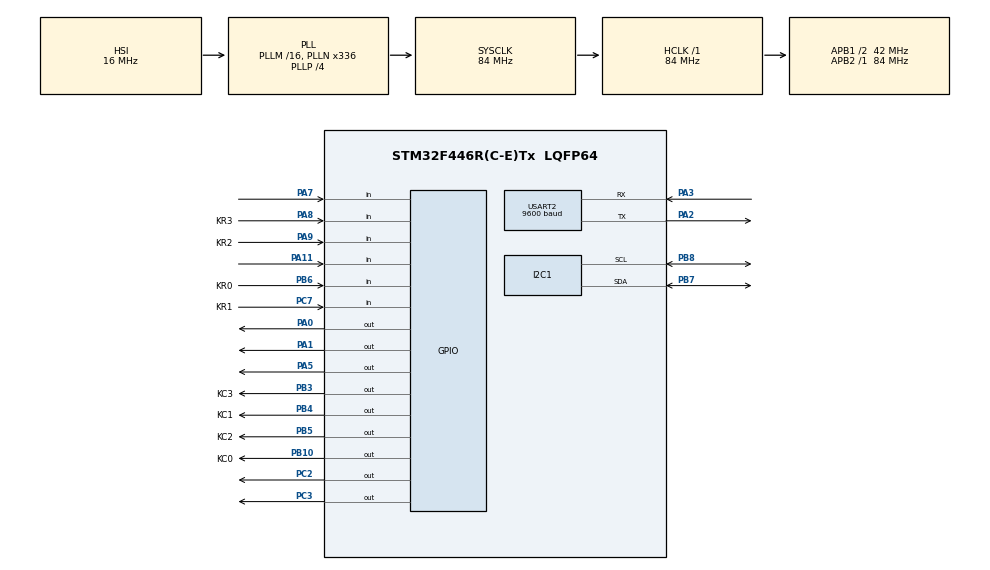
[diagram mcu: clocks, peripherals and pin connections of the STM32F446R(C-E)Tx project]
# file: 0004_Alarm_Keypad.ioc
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FREERTOS.Mutexes01=armMutex,Dynamic,NULL
FREERTOS.Tasks01=defaultTask,0,128,StartDefaultTask,Default,NULL,Dynamic,NULL,NULL;Task1,-3,128,StartTask01,Default,NULL,Dynamic,NULL,NULL;Task2,-3,128,StartTask02,Default,NULL,Dynamic,NULL,NULL;Task3,-3,128,StartTask03,Default,NULL,Dynamic,NULL,NULL
I2C1.I2C_Mode=I2C_Fast
Mcu.Family=STM32F4
Mcu.Name=STM32F446R(C-E)Tx
Mcu.Package=LQFP64
NVIC.PriorityGroup=NVIC_PRIORITYGROUP_4
NVIC.TIM6_DAC_IRQn=true\:0\:0\:false\:false\:true\:false\:false\:true\:true
NVIC.TimeBase=TIM6_DAC_IRQn
NVIC.TimeBaseIP=TIM6
PA0-WKUP.Signal=GPIO_Output
PA1.Signal=GPIO_Output
PA11.Signal=GPIO_Input
PA13.Mode=Serial_Wire
PA13.Signal=SYS_JTMS-SWDIO
PA14.Mode=Serial_Wire
PA14.Signal=SYS_JTCK-SWCLK
PA2.Mode=Asynchronous
PA2.Signal=USART2_TX
PA3.Mode=Asynchronous
PA3.Signal=USART2_RX
PA5.Signal=GPIO_Output
PA7.Signal=GPIO_Input
PA8.GPIO_Label=KR3
PA8.GPIO_PuPd=GPIO_PULLDOWN
PA8.Signal=GPIO_Input
PA9.GPIO_Label=KR2
PA9.GPIO_PuPd=GPIO_PULLDOWN
PA9.Signal=GPIO_Input
PB10.GPIO_Label=KC0
PB10.Signal=GPIO_Output
PB3.GPIO_Label=KC3
PB3.Signal=GPIO_Output
PB4.GPIO_Label=KC1
PB4.Signal=GPIO_Output
PB5.GPIO_Label=KC2
PB5.Signal=GPIO_Output
PB6.GPIO_Label=KR0
PB6.GPIO_PuPd=GPIO_PULLDOWN
PB6.Signal=GPIO_Input
PB7.Mode=I2C
PB7.Signal=I2C1_SDA
PB8.Mode=I2C
PB8.Signal=I2C1_SCL
PC14-OSC32_IN.Mode=LSE-External-Oscillator
PC14-OSC32_IN.Signal=RCC_OSC32_IN
PC15-OSC32_OUT.Mode=LSE-External-Oscillator
PC15-OSC32_OUT.Signal=RCC_OSC32_OUT
PC2.Signal=GPIO_Output
PC3.Signal=GPIO_Output
PC7.GPIO_Label=KR1
PC7.GPIO_PuPd=GPIO_PULLDOWN
PC7.Signal=GPIO_Input
PH0-OSC_IN.Mode=HSE-External-Oscillator
PH0-OSC_IN.Signal=RCC_OSC_IN
PH1-OSC_OUT.Mode=HSE-External-Oscillator
PH1-OSC_OUT.Signal=RCC_OSC_OUT
ProjectManager.HeapSize=0x200
ProjectManager.StackSize=0x400
ProjectManager.TargetToolchain=STM32CubeIDE
RCC.48MHZClocksFreq_Value=84000000
RCC.AHBFreq_Value=84000000
RCC.APB1CLKDivider=RCC_HCLK_DIV2
RCC.APB1Freq_Value=42000000
RCC.APB1TimFreq_Value=84000000
RCC.APB2Freq_Value=84000000
RCC.APB2TimFreq_Value=84000000
RCC.CortexFreq_Value=84000000
RCC.FLatency-AdvancedSettings=FLASH_LATENCY_2
RCC.HCLKFreq_Value=84000000
RCC.HSE_VALUE=8000000
RCC.HSI_VALUE=16000000
RCC.PLLN=336
RCC.PLLP=RCC_PLLP_DIV4
RCC.SYSCLKFreq_VALUE=84000000
RCC.SYSCLKSource=RCC_SYSCLKSOURCE_PLLCLK
RCC.USBFreq_Value=168000000
RCC.VCOOutputFreq_Value=336000000
USART2.BaudRate=9600
USART2.VirtualMode=VM_ASYNC
VP_FREERTOS_VS_CMSIS_V1.Mode=CMSIS_V1
VP_SYS_VS_tim6.Mode=TIM6
board=NUCLEO-F446RE

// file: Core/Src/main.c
/* USER CODE BEGIN Header */
/**
  ******************************************************************************
  * @file           : main.c
  * @brief          : Main program body
  ******************************************************************************
  * @attention
  *
  * Copyright (c) 2024 STMicroelectronics.
  * All rights reserved.
  *
  * This software is licensed under terms that can be found in the LICENSE file
  * in the root directory of this software component.
  * If no LICENSE file comes with this software, it is provided AS-IS.
  *
  ******************************************************************************
  */
/* USER CODE END Header */
#include "main.h"
#include "cmsis_os.h"

/* USER CODE BEGIN Includes */
#include "Keypad4X4.h"
#include <stdio.h>
#include <string.h>
#include <stdlib.h>
#include "fonts.h"
#include "ssd1306.h"

/* USER CODE END Includes */

I2C_HandleTypeDef hi2c1;

UART_HandleTypeDef huart2;

osThreadId defaultTaskHandle;
osThreadId Task1Handle;
osThreadId Task2Handle;
osThreadId Task3Handle;
osMutexId armMutexHandle;
/* USER CODE BEGIN PV */
extern char key;
char hold[4];
int pirState = 0;
char msg[50];
char code[] = "0000";
char enteredUserCode[5];
int codeLength = 0;
int armed = 1;
/* USER CODE END PV */

void SystemClock_Config(void);
static void MX_GPIO_Init(void);
static void MX_USART2_UART_Init(void);
static void MX_I2C1_Init(void);
void StartDefaultTask(void const * argument);
void StartTask01(void const * argument);
void StartTask02(void const * argument);
void StartTask03(void const * argument);

int main(void)
{

  /* MCU Configuration--------------------------------------------------------*/

  /* Reset of all peripherals, Initializes the Flash interface and the Systick. */
  HAL_Init();

  /* Configure the system clock */
  SystemClock_Config();

  /* Initialize all configured peripherals */
  MX_GPIO_Init();
  MX_USART2_UART_Init();
  MX_I2C1_Init();
  /* USER CODE BEGIN 2 */
  /* USER CODE BEGIN 2 */
//  HAL_GPIO_TogglePin(GPIOA, GPIO_PIN_0);
//  HAL_GPIO_TogglePin(GPIOA, GPIO_PIN_1);

    SSD1306_Init();

  /* USER CODE END 2 */

  /* Create the mutex(es) */
  /* definition and creation of armMutex */
  osMutexDef(armMutex);
  armMutexHandle = osMutexCreate(osMutex(armMutex));

  /* Create the thread(s) */
  /* definition and creation of defaultTask */
  osThreadDef(defaultTask, StartDefaultTask, osPriorityNormal, 0, 128);
  defaultTaskHandle = osThreadCreate(osThread(defaultTask), NULL);

  /* definition and creation of Task1 */
  osThreadDef(Task1, StartTask01, osPriorityIdle, 0, 128);
  Task1Handle = osThreadCreate(osThread(Task1), NULL);

  /* definition and creation of Task2 */
  osThreadDef(Task2, StartTask02, osPriorityIdle, 0, 128);
  Task2Handle = osThreadCreate(osThread(Task2), NULL);

  /* definition and creation of Task3 */
  osThreadDef(Task3, StartTask03, osPriorityIdle, 0, 128);
  Task3Handle = osThreadCreate(osThread(Task3), NULL);

  /* Start scheduler */
  osKernelStart();

  /* We should never get here as control is now taken by the scheduler */
  /* Infinite loop */
  while (1)
  {

    /* USER CODE BEGIN 3 */
	/* D10 to D7 as input pins for row 0 to row 3. D6 to D3 as output for column pins C1 to C3*/

//	  key = Get_Key();
//	  sprintf(hold, "%c", key);
//	  HAL_UART_Transmit(&huart2, (uint8_t *)hold, strlen(hold), 100);
//	  SSD1306_GotoXY (0, 30);
//	  SSD1306_UpdateScreen();
//	  SSD1306_Puts (hold, &Font_11x18, 1);
//	  SSD1306_UpdateScreen();
//	  HAL_Delay (500);

  }
  /* USER CODE END 3 */
}

void SystemClock_Config(void)
{
  RCC_OscInitTypeDef RCC_OscInitStruct = {0};
  RCC_ClkInitTypeDef RCC_ClkInitStruct = {0};

  /** Configure the main internal regulator output voltage
  */
  __HAL_RCC_PWR_CLK_ENABLE();
  __HAL_PWR_VOLTAGESCALING_CONFIG(PWR_REGULATOR_VOLTAGE_SCALE3);

  /** Initializes the RCC Oscillators according to the specified parameters
  * in the RCC_OscInitTypeDef structure.
  */
  RCC_OscInitStruct.OscillatorType = RCC_OSCILLATORTYPE_HSI;
  RCC_OscInitStruct.HSIState = RCC_HSI_ON;
  RCC_OscInitStruct.HSICalibrationValue = RCC_HSICALIBRATION_DEFAULT;
  RCC_OscInitStruct.PLL.PLLState = RCC_PLL_ON;
  RCC_OscInitStruct.PLL.PLLSource = RCC_PLLSOURCE_HSI;
  RCC_OscInitStruct.PLL.PLLM = 16;
  RCC_OscInitStruct.PLL.PLLN = 336;
  RCC_OscInitStruct.PLL.PLLP = RCC_PLLP_DIV4;
  RCC_OscInitStruct.PLL.PLLQ = 2;
  RCC_OscInitStruct.PLL.PLLR = 2;
  if (HAL_RCC_OscConfig(&RCC_OscInitStruct) != HAL_OK)
  {
    Error_Handler();
  }

  /** Initializes the CPU, AHB and APB buses clocks
  */
  RCC_ClkInitStruct.ClockType = RCC_CLOCKTYPE_HCLK|RCC_CLOCKTYPE_SYSCLK
                              |RCC_CLOCKTYPE_PCLK1|RCC_CLOCKTYPE_PCLK2;
  RCC_ClkInitStruct.SYSCLKSource = RCC_SYSCLKSOURCE_PLLCLK;
  RCC_ClkInitStruct.AHBCLKDivider = RCC_SYSCLK_DIV1;
  RCC_ClkInitStruct.APB1CLKDivider = RCC_HCLK_DIV2;
  RCC_ClkInitStruct.APB2CLKDivider = RCC_HCLK_DIV1;

  if (HAL_RCC_ClockConfig(&RCC_ClkInitStruct, FLASH_LATENCY_2) != HAL_OK)
  {
    Error_Handler();
  }
}

static void MX_I2C1_Init(void)
{

  hi2c1.Instance = I2C1;
  hi2c1.Init.ClockSpeed = 400000;
  hi2c1.Init.DutyCycle = I2C_DUTYCYCLE_2;
  hi2c1.Init.OwnAddress1 = 0;
  hi2c1.Init.AddressingMode = I2C_ADDRESSINGMODE_7BIT;
  hi2c1.Init.DualAddressMode = I2C_DUALADDRESS_DISABLE;
  hi2c1.Init.OwnAddress2 = 0;
  hi2c1.Init.GeneralCallMode = I2C_GENERALCALL_DISABLE;
  hi2c1.Init.NoStretchMode = I2C_NOSTRETCH_DISABLE;
  if (HAL_I2C_Init(&hi2c1) != HAL_OK)
  {
    Error_Handler();
  }

}

static void MX_USART2_UART_Init(void)
{

  huart2.Instance = USART2;
  huart2.Init.BaudRate = 9600;
  huart2.Init.WordLength = UART_WORDLENGTH_8B;
  huart2.Init.StopBits = UART_STOPBITS_1;
  huart2.Init.Parity = UART_PARITY_NONE;
  huart2.Init.Mode = UART_MODE_TX_RX;
  huart2.Init.HwFlowCtl = UART_HWCONTROL_NONE;
  huart2.Init.OverSampling = UART_OVERSAMPLING_16;
  if (HAL_UART_Init(&huart2) != HAL_OK)
  {
    Error_Handler();
  }

}

static void MX_GPIO_Init(void)
{
  GPIO_InitTypeDef GPIO_InitStruct = {0};

  /* GPIO Ports Clock Enable */
  __HAL_RCC_GPIOC_CLK_ENABLE();
  __HAL_RCC_GPIOH_CLK_ENABLE();
  __HAL_RCC_GPIOA_CLK_ENABLE();
  __HAL_RCC_GPIOB_CLK_ENABLE();

  /*Configure GPIO pin Output Level */
  HAL_GPIO_WritePin(GPIOC, GPIO_PIN_2|GPIO_PIN_3, GPIO_PIN_RESET);

  /*Configure GPIO pin Output Level */
  HAL_GPIO_WritePin(GPIOA, GPIO_PIN_0|GPIO_PIN_1|GPIO_PIN_5, GPIO_PIN_RESET);

  /*Configure GPIO pin Output Level */
  HAL_GPIO_WritePin(GPIOB, KC0_Pin|KC3_Pin|KC1_Pin|KC2_Pin, GPIO_PIN_RESET);

  /*Configure GPIO pins : PC2 PC3 */
  GPIO_InitStruct.Pin = GPIO_PIN_2|GPIO_PIN_3;
  GPIO_InitStruct.Mode = GPIO_MODE_OUTPUT_PP;
  GPIO_InitStruct.Pull = GPIO_NOPULL;
  GPIO_InitStruct.Speed = GPIO_SPEED_FREQ_LOW;
  HAL_GPIO_Init(GPIOC, &GPIO_InitStruct);

  /*Configure GPIO pins : PA0 PA1 PA5 */
  GPIO_InitStruct.Pin = GPIO_PIN_0|GPIO_PIN_1|GPIO_PIN_5;
  GPIO_InitStruct.Mode = GPIO_MODE_OUTPUT_PP;
  GPIO_InitStruct.Pull = GPIO_NOPULL;
  GPIO_InitStruct.Speed = GPIO_SPEED_FREQ_LOW;
  HAL_GPIO_Init(GPIOA, &GPIO_InitStruct);

  /*Configure GPIO pins : PA7 PA11 */
  GPIO_InitStruct.Pin = GPIO_PIN_7|GPIO_PIN_11;
  GPIO_InitStruct.Mode = GPIO_MODE_INPUT;
  GPIO_InitStruct.Pull = GPIO_NOPULL;
  HAL_GPIO_Init(GPIOA, &GPIO_InitStruct);

  /*Configure GPIO pins : KC0_Pin KC3_Pin KC1_Pin KC2_Pin */
  GPIO_InitStruct.Pin = KC0_Pin|KC3_Pin|KC1_Pin|KC2_Pin;
  GPIO_InitStruct.Mode = GPIO_MODE_OUTPUT_PP;
  GPIO_InitStruct.Pull = GPIO_NOPULL;
  GPIO_InitStruct.Speed = GPIO_SPEED_FREQ_LOW;
  HAL_GPIO_Init(GPIOB, &GPIO_InitStruct);

  /*Configure GPIO pin : KR1_Pin */
  GPIO_InitStruct.Pin = KR1_Pin;
  GPIO_InitStruct.Mode = GPIO_MODE_INPUT;
  GPIO_InitStruct.Pull = GPIO_PULLDOWN;
  HAL_GPIO_Init(KR1_GPIO_Port, &GPIO_InitStruct);

  /*Configure GPIO pins : KR3_Pin KR2_Pin */
  GPIO_InitStruct.Pin = KR3_Pin|KR2_Pin;
  GPIO_InitStruct.Mode = GPIO_MODE_INPUT;
  GPIO_InitStruct.Pull = GPIO_PULLDOWN;
  HAL_GPIO_Init(GPIOA, &GPIO_InitStruct);

  /*Configure GPIO pin : KR0_Pin */
  GPIO_InitStruct.Pin = KR0_Pin;
  GPIO_InitStruct.Mode = GPIO_MODE_INPUT;
  GPIO_InitStruct.Pull = GPIO_PULLDOWN;
  HAL_GPIO_Init(KR0_GPIO_Port, &GPIO_InitStruct);

}

void StartDefaultTask(void const * argument)
{
  /* USER CODE BEGIN 5 */
  /* Infinite loop */
//	  MX_GPIO_Init();
	for(;;)
	{

		  osDelay(100);
		  int val = HAL_GPIO_ReadPin(GPIOA, GPIO_PIN_11);
		  osMutexWait(armMutexHandle, osWaitForever);
		  int status = armed;
		  osMutexRelease(armMutexHandle);
		  if (val == GPIO_PIN_SET){
			  int count = 15;
			  osMutexWait(armMutexHandle, osWaitForever);
			  status = armed;
			  osMutexRelease(armMutexHandle);
			  while(status && val){
				  sprintf(msg, "Timer: %d\n", count);
				  SSD1306_Puts(msg, &Font_11x18, 1);

				  osDelay(1000);
				  if(count > 0){
					  count--;
				  } else {
					  HAL_GPIO_WritePin(GPIOC, GPIO_PIN_3, GPIO_PIN_SET);
				  }
				  val = HAL_GPIO_ReadPin(GPIOA, GPIO_PIN_11);
				  osMutexWait(armMutexHandle, osWaitForever);
				  status = armed;
				  osMutexRelease(armMutexHandle);

			  }
			  SSD1306_Clear();
//			if(status == 1){
//				for(int i = 0; i<=15; i++){
//					SSD1306_Puts(i, &Font_11x18, 1);
//					osDelay(1000);
//				}
//				HAL_GPIO_WritePin(GPIOC, GPIO_PIN_3, GPIO_PIN_SET);
//			}
			if (pirState == 0){
				pirState =1;
			}
		  } else {
			if(pirState == 1){
				if(status == 1){
					HAL_GPIO_WritePin(GPIOC, GPIO_PIN_3, GPIO_PIN_RESET);
				}
				pirState = 0;
			}
		  }
	}

  /* USER CODE END 5 */
}

void StartTask01(void const * argument)
{
  /* USER CODE BEGIN StartTask01 */
  /* Infinite loop */
	for(;;)
	{
		SSD1306_GotoXY (0,0);
		//SSD1306_Puts ("Voltage:", &Font_11x18, 1);
		osMutexWait(armMutexHandle, osWaitForever);
		int status = armed;
		osMutexRelease(armMutexHandle);
		if(status==1){
			SSD1306_Puts ("Armed   ", &Font_11x18, 1);
			HAL_GPIO_WritePin(GPIOA, GPIO_PIN_0, GPIO_PIN_SET);
			HAL_GPIO_WritePin(GPIOA, GPIO_PIN_1, GPIO_PIN_RESET);

		} else {
			SSD1306_Puts ("Disarmed", &Font_11x18, 1);
			HAL_GPIO_WritePin(GPIOA, GPIO_PIN_1, GPIO_PIN_SET);
			HAL_GPIO_WritePin(GPIOA, GPIO_PIN_0, GPIO_PIN_RESET);
		}
		SSD1306_GotoXY (0, 30);
		SSD1306_UpdateScreen();
//		char displayCode[5];
//		for (int i = 0; i < codeLength; i++){
//			displayCode[i] = '*';
//		}
//		displayCode[codeLength] = '\0';

//		SSD1306_Puts(displayCode, &Font_11x18, 1);
		SSD1306_UpdateScreen();
		HAL_Delay (50);
	}

  /* USER CODE END StartTask01 */
}

void StartTask02(void const * argument)
{
  /* USER CODE BEGIN StartTask02 */
  /* Infinite loop */
	for(;;) {
			osDelay(1);

			//osMutexWait(keypadMytexHandleHandle, osWaitForever);
			key = Get_Key();
			//osMutexRelease(keypadMytexHandleHandle);

			if (key == '#') {
				if (!armed) {
					// If the system is not armed, arm it with the entered code
					if (codeLength == 4) {
	//					strcpy(userCode, enteredUserCode);
						strcpy(code, enteredUserCode);
						osMutexWait(armMutexHandle, osWaitForever);
						armed = 1;
						osMutexRelease(armMutexHandle);
					} else {
						// If code length is not 4, it's an invalid code
						SSD1306_Clear();
						SSD1306_Puts("INVALID", &Font_11x18, 1);
						HAL_Delay (2000);
						SSD1306_Clear();

					}
				} else {
					// If the system is armed, disarm it if the entered code matches
					if (strncmp(code, enteredUserCode, 4) == 0) {
						osMutexWait(armMutexHandle, osWaitForever);
						armed = 0;
						osMutexRelease(armMutexHandle);
					} else {
						// If code doesn't match, it's an invalid code
						SSD1306_Clear();
						SSD1306_Puts("INVALID", &Font_11x18, 1);
						HAL_Delay (2000);
						SSD1306_Clear();

					}
				}

			} else {
				// Collect keys to form the entered code
				if (codeLength < 4) {
					enteredUserCode[codeLength] = key;
					codeLength++;
					sprintf(msg, "code length: %d\n", codeLength);
					HAL_UART_Transmit(&huart2, (uint8_t*)msg, strlen(msg), 1000);
					sprintf(msg, "armed: %d\n", armed);
					HAL_UART_Transmit(&huart2, (uint8_t*)msg, strlen(msg), 1000);
				} else {
					// If more than 4 keys are entered, reset the code.
					memset(enteredUserCode, 0, sizeof(enteredUserCode));
					codeLength = 0;
				}
			}
		}

  /* USER CODE END StartTask02 */
}

void StartTask03(void const * argument)
{
  /* USER CODE BEGIN StartTask03 */
  /* Infinite loop */
  for(;;)
  {
//	  osDelay(100);
//	      int val = HAL_GPIO_ReadPin(GPIOA, GPIO_PIN_11);
//	      if (val == GPIO_PIN_SET){
////	      	HAL_GPIO_WritePin(GPIOC, GPIO_PIN_3, GPIO_PIN_SET);
//	      	HAL_GPIO_WritePin(GPIOA, GPIO_PIN_0, GPIO_PIN_SET);
//	      	HAL_GPIO_WritePin(GPIOA, GPIO_PIN_1, GPIO_PIN_SET);
//	      	if (pirState == 0){
//	      		pirState =1;
//	      	}
//	      } else {
////	      	HAL_GPIO_WritePin(GPIOC, GPIO_PIN_3, GPIO_PIN_RESET);
//	      	HAL_GPIO_WritePin(GPIOA, GPIO_PIN_0, GPIO_PIN_SET);
//	      	HAL_GPIO_WritePin(GPIOA, GPIO_PIN_1, GPIO_PIN_SET);
//	      	if(pirState == 1){
//	      		pirState = 0;
//	      	}
//	      }

		osDelay(1);
  }
  /* USER CODE END StartTask03 */
}

void HAL_TIM_PeriodElapsedCallback(TIM_HandleTypeDef *htim)
{
  if (htim->Instance == TIM6) {
    HAL_IncTick();
  }
}

void Error_Handler(void)
{
  __disable_irq();
  while (1)
  {
  }
}
